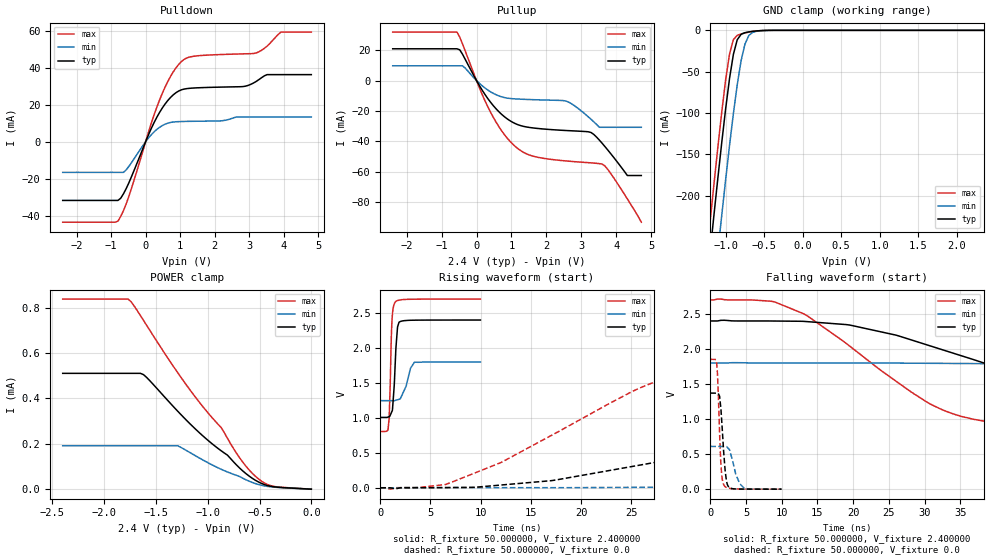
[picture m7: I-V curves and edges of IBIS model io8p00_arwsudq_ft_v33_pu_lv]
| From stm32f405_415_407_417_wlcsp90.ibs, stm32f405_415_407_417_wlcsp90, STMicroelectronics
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|   Model io8p00_arwsudq_ft_v33_pu_lv
[Model]  io8p00_arwsudq_ft_v33_pu_lv
Model_type I/O
Polarity   Non-Inverting
Enable   Active-Low
Vinl =   0.720000V
Vinh =   1.680000V
Vmeas =  1.200000V
Cref =   50.000000pF
Rref =   100.000000M
Vref =   0.0V
C_comp   2.828400pF   2.771400pF   2.910300pF
[Temperature Range]   25.000000   0.125000k   -40.000000
[Pullup Reference]   2.400000V   1.800000V   2.700000V
[Pulldown Reference]   0.0V   0.0V   0.0V
[POWER Clamp Reference]   2.400000V   1.800000V   2.700000V
[GND Clamp Reference]   0.0V   0.0V   0.0V
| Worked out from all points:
|   slope of the pulldown table from 0 to 0.36 V, typ, clamps not added: 25 ohm
|   slope of the pullup table from 0 to 0.36 V, typ, clamps not added: 27.7 ohm
|   GND clamp passes 1 mA (typ) near -0.62 V on its own axis
|   rising waveform, R_fixture 50.000000, V_fixture 2.400000: 20-80 % time 322ps typ, 710ps min, 219ps max; typ from 1.01 V to 2.4 V
|   rising waveform, R_fixture 50.000000, V_fixture 0.0: 20-80 % time 31ns typ, 81.8ns min, 14.6ns max; typ from 0.001 V to 1.37 V
|   falling waveform, R_fixture 50.000000, V_fixture 2.400000: 20-80 % time 29.1ns typ, 81.9ns min, 15.7ns max; typ from 2.4 V to 1.01 V
|   falling waveform, R_fixture 50.000000, V_fixture 0.0: 20-80 % time 552ps typ, 1.05ns min, 407ps max; typ from 1.37 V to 0.001 V
[Pulldown]
|Voltage   I(typ)   I(min)   I(max)
-2.4V     -31.66mA   -16.51mA   -43.42mA
-800mV    -31.66mA   -16.51mA   -42.86mA
-480mV    -21.98mA   -13.17mA   -29.21mA
80mV      3.63mA     1.966mA    5.014mA
480mV     18.16mA    8.738mA    26.02mA
800mV     25.38mA    10.72mA    37.77mA
1.12V     28.53mA    11.02mA    44.6mA
2.8V      29.84mA    13.46mA    47.53mA
3.2V      32.6mA     13.46mA    48.03mA
3.52V     36.33mA    13.46mA    51.75mA
3.92V     36.33mA    13.46mA    59.31mA
4.8V      36.33mA    13.46mA    59.31mA
[Pullup]
|Voltage   I(typ)   I(min)   I(max)
-2.4V     20.87mA    9.66mA     31.87mA
-560mV    20.87mA    9.66mA     31.87mA
-400mV    17.27mA    9.66mA     24.06mA
320mV     -11.75mA   -6.207mA   -17.08mA
640mV     -20.52mA   -10.1mA    -30.35mA
960mV     -26.47mA   -11.82mA   -40.02mA
1.52V     -30.88mA   -12.51mA   -49.05mA
2.56V     -32.88mA   -13.48mA   -52.9mA
3.28V     -34.2mA    -25.5mA    -54.17mA
3.6V      -41.33mA   -30.76mA   -54.99mA
4.32V     -62.5mA    -30.76mA   -77.87mA
4.72V     -62.5mA    -30.76mA   -93.2mA
[GND_clamp]
|Voltage   I(typ)   I(min)   I(max)
-2.4V     -1.428A    -1.51A     -1.401A
-1.2V     -266.4mA   -356.3mA   -229.4mA
-1.15V    -221.3mA   -311mA     -184.1mA
-1.1V     -177.3mA   -266.4mA   -140mA
-1.05V    -134.8mA   -222.7mA   -97.97mA
-950mV    -58.22mA   -139.2mA   -28.55mA
-900mV    -29.03mA   -100.6mA   -11.27mA
-850mV    -11.41mA   -65.77mA   -6.067mA
-750mV    -2.852mA   -16.63mA   -3.179mA
-700mV    -1.914mA   -6.318mA   -2.181mA
-600mV    -750uA     -1.167mA   -738.3uA
2.35V     0A         0A         0A
[POWER_clamp]
|Voltage   I(typ)   I(min)   I(max)
-2.4V     511uA      191.4uA    838.7uA
-1.77V    511uA      191.4uA    838.7uA
-1.74V    511uA      191.4uA    826.9uA
-1.62V    505.2uA    191.4uA    744.6uA
-1.29V    344.1uA    191.4uA    514uA
-1.08V    248.7uA    137.3uA    383.1uA
-870mV    169.3uA    87.75uA    271.7uA
-720mV    105.7uA    60.5uA     157.1uA
-570mV    47.98uA    29.54uA    70.06uA
-480mV    25.17uA    16.94uA    35.08uA
-390mV    12.49uA    10.17uA    15.15uA
0V        0A         0A         0A
[Ramp]
| variable   typ   min   max
dV/dt_r  0.82201/30.92306n   0.36326/83.85166n   1.11083/14.60523n
dV/dt_f  0.83748/29.14535n   0.32652/82.10536n   1.13677/15.69812n
R_load = 50.000000
[Rising Waveform]
R_fixture= 50.000000
V_fixture= 2.400000
V_fixture_min= 1.800000
V_fixture_max= 2.700000
|time   V(typ)   V(min)   V(max)
0s        1.007V     1.247V     805.7mV
780.8ps   1.013V     1.247V     845.7mV
880.9ps   1.017V     1.247V     988.5mV
1.161ns   1.093V     1.247V     2.383V
1.381ns   1.447V     1.247V     2.627V
1.481ns   1.758V     1.25V      2.656V
1.722ns   2.302V     1.26V      2.678V
1.882ns   2.371V     1.267V     2.685V
3.403ns   2.398V     1.797V     2.698V
9.97ns    2.4V       1.8V       2.7V
[Rising Waveform]
R_fixture= 50.000000
V_fixture= 0.0
V_fixture_min= 0.0
V_fixture_max= 0.0
|time   V(typ)   V(min)   V(max)
0s        880.4uV    840.2uV    911.2uV
7.007ns   4.465mV    1.891mV    74.99mV
17.02ns   102.3mV    2.04mV     748.6mV
28.03ns   380.4mV    8.553mV    1.547V
35.04ns   574.9mV    17.63mV    1.724V
43.04ns   805.9mV    44.83mV    1.794V
59.56ns   1.174V     100.9mV    1.84V
79.58ns   1.316V     194.9mV    1.848V
152.7ns   1.369V     510.6mV    1.852V
249.2ns   1.371V     610.3mV    1.852V
[Falling Waveform]
R_fixture= 50.000000
V_fixture= 2.400000
V_fixture_min= 1.800000
V_fixture_max= 2.700000
|time   V(typ)   V(min)   V(max)
0s        2.4V       1.8V       2.7V
9.009ns   2.399V     1.8V       2.672V
13.51ns   2.391V     1.8V       2.478V
19.52ns   2.342V     1.8V       2.041V
31.03ns   2.036V     1.796V     1.203V
43.54ns   1.625V     1.776V     913.9mV
60.56ns   1.236V     1.717V     846.3mV
84.08ns   1.083V     1.587V     819.3mV
157.7ns   1.014V     1.325V     806mV
249.2ns   1.007V     1.247V     805.7mV
[Falling Waveform]
R_fixture= 50.000000
V_fixture= 0.0
V_fixture_min= 0.0
V_fixture_max= 0.0
|time   V(typ)   V(min)   V(max)
0s        1.371V     610.3mV    1.852V
900.9ps   1.372V     610.1mV    1.792V
1.081ns   1.368V     610mV      1.463V
1.481ns   1.155V     609.7mV    368.9mV
1.922ns   470.1mV    610.9mV    56.85mV
2.262ns   120.9mV    607.9mV    25.02mV
2.743ns   18.52mV    545.4mV    12.12mV
3.584ns   3.983mV    209.2mV    5.051mV
4.785ns   1.869mV    11.65mV    2.214mV
9.97ns    880.4uV    840.2uV    911.2uV
